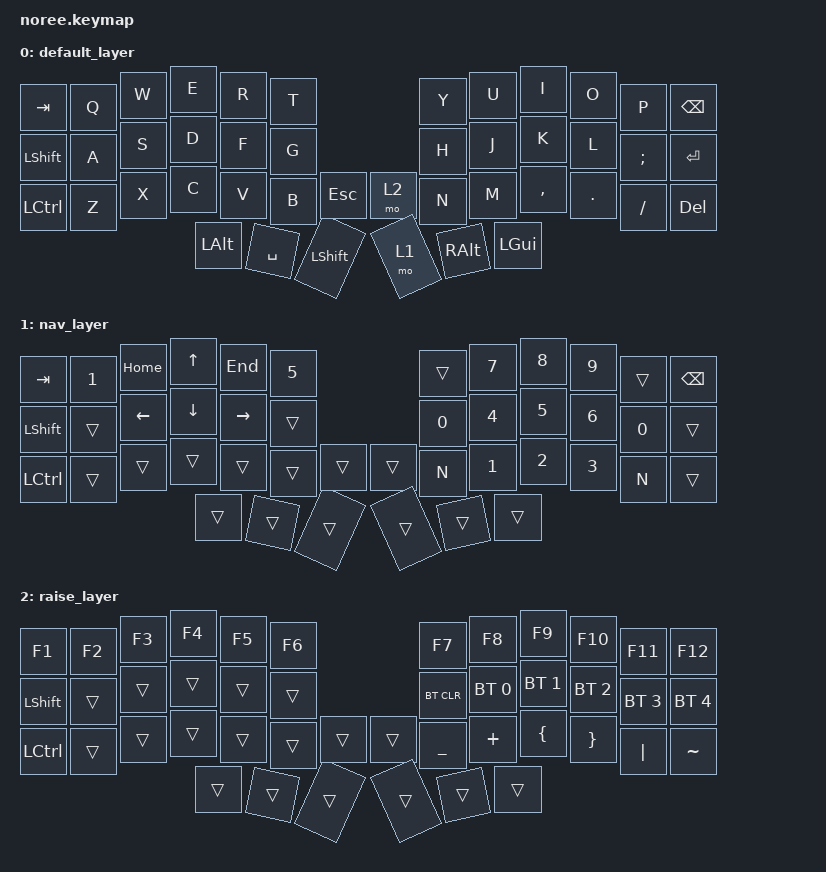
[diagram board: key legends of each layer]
/*
 * Copyright (c) 2020 The ZMK Contributors
 *
 * SPDX-License-Identifier: MIT
 */

#include <behaviors.dtsi>
#include <dt-bindings/zmk/keys.h>
#include <dt-bindings/zmk/bt.h>

/ {
        keymap {
                compatible = "zmk,keymap";

                default_layer {
// -----------------------------------------------------------------------------------------
// | TAB  |  Q  |  W  |  E  |  R  |   T  |               |  Y  |  U  |  I  |  O  |  P  | BSPC |
// | SHFT |  A  |  S  |  D  |  F  |   G  |               |  H  |  J  |  K  |  L  |  ;  | ENTER|
// | CTRL |  Z  |  X  |  C  |  V  |   B  |               |  N  |  M  |  ,  |  .  |  /  |  DEL |
//                    | ALT | SPC | SHFT | ESC |    | FN | NAV |ALTGR| WIN |
                        bindings = <
   &kp TAB   &kp Q &kp W &kp E &kp R &kp T              &kp Y &kp U  &kp I     &kp O   &kp P    &kp BSPC
   &kp LSHFT &kp A &kp S &kp D &kp F &kp G              &kp H &kp J  &kp K     &kp L   &kp SEMI &kp RET
   &kp LCTRL &kp Z &kp X &kp C &kp V &kp B              &kp N &kp M  &kp COMMA &kp DOT &kp FSLH &kp DEL
             &kp LALT &kp SPACE &kp LSHIFT &kp ESC &mo 2 &mo 1 &kp RALT &kp LGUI
                        >;

// | TAB  |  Q  |  W  |  E  |  R  |  T  |   |  Y  |  U  |  I  |  O  |  P  | BSPC |
// | SHFT |  A  |  S  |  D  |  F  |  G  |   |  H  |  J  |  K  |  L  |  ;  |  '   |
// | CTRL |  Z  |  X  |  C  |  V  |  B  |   |  N  |  M  |  ,  |  .  |  /  | ESC  |
//              | GUI | LWR | SPC | ESC |   | DEL | ENT | RSE | ALT |
/*                        bindings = <
   &kp TAB   &kp Q &kp W &kp E &kp R &kp T      &kp Y &kp U  &kp I     &kp O   &kp P    &kp BSPC
   &kp LSHFT &kp A &kp S &kp D &kp F &kp G      &kp H &kp J  &kp K     &kp L   &kp SEMI &kp SQT
   &kp LCTRL &kp Z &kp X &kp C &kp V &kp B      &kp N &kp M  &kp COMMA &kp DOT &kp FSLH &kp ESC
             &kp LGUI &mo 1 &kp SPACE &kp ESC   &kp DEL &kp RET &mo 2 &kp RALT
                        >;
*/
                };
                nav_layer {
// -----------------------------------------------------------------------------------------
// |  TAB  |   1   |  HOME  |   UP   |   END   |   5   |                    |     |  7  |  8  |  9  |     | BSPC |
// | LSHFT |       |  LEFT  |  DOWN  |  RIGHT  |       |                    |  0  |  4  |  5  |  6  |  0  |      |
// | CTRL  |       |        |        |         |       |                    |  .  |  1  |  2  |  3  |  .  |      |
//                          |        |         |       |     |         |    |     |     |     |
                        bindings = <
   &kp TAB    &kp N1  &kp HOME &kp UP    &kp END   &kp N5                  &trans    &kp N7   &kp N8  &kp N9   &trans &kp BSPC
   &kp LSHFT  &trans  &kp LEFT &kp DOWN  &kp RIGHT &trans                  &kp N0    &kp N4   &kp N5  &kp N6   &kp N0 &trans
   &kp LCTRL  &trans  &trans   &trans    &trans    &trans                  &kp N     &kp N1   &kp N2  &kp N3   &kp N  &trans
                               &trans    &trans    &trans &trans    &trans &trans &trans  &trans
                        >;
                };

                raise_layer {
// -----------------------------------------------------------------------------------------
// |  F1  |  F2  |  F3  |  F4  |  F5  |  F6  |                         |  F7 |  F8 |  F9 | F10 | F11 | F12 |
// | SHFT |      |      |      |      |      |                         |BTCLR| BT1 | BT2 | BT3 | BT4 | BT5 |
// | CTRL |      |      |      |      |      |                         |  _  |  +  |  {  |  }  | "|" |  ~  |
//                      |      |      |      |      |             |    |     |     |     |
                        bindings = <
   &kp F1    &kp F2   &kp F3  &kp F4  &kp F5  &kp F6                        &kp F7     &kp F8       &kp F9       &kp F10      &kp F11      &kp F12
   &kp LSHFT &trans   &trans  &trans  &trans  &trans                        &bt BT_CLR &bt BT_SEL 0 &bt BT_SEL 1 &bt BT_SEL 2 &bt BT_SEL 3 &bt BT_SEL 4
   &kp LCTRL &trans   &trans  &trans  &trans  &trans                        &kp UNDER  &kp PLUS     &kp LBRC     &kp RBRC     &kp PIPE     &kp TILDE
                              &trans  &trans  &trans  &trans       &trans   &trans      &trans       &trans
                        >;
                };
//                raise_layer {
// // -----------------------------------------------------------------------------------------
// // |  TAB |  !  |  @  |  #  |  $  |  %  |   |  ^  |  &  |  *  |  (  |  )  | BSPC |
// // | SHFT |     |     |     |     |     |   |  -  |  =  |  [  |  ]  |  \  |  `   |
// // | CTRL |     |     |     |     |     |   |  _  |  +  |  {  |  }  | "|" |  ~   |
// //              | GUI |     | SPC |     |   |     | ENT |     | ALT |
//                         bindings = <
//    &kp  TAB  &kp EXCL &kp AT &kp HASH &kp DLLR &kp PRCNT   &kp CARET &kp AMPS  &kp ASTRK &kp LPAR &kp RPAR &kp BSPC
//    &kp LSHFT &trans   &trans &trans   &trans   &trans      &kp MINUS &kp EQUAL &kp LBKT  &kp RBKT &kp BSLH &kp GRAVE
//    &kp LCTRL &trans   &trans &trans   &trans   &trans      &kp UNDER &kp PLUS  &kp LBRC  &kp RBRC &kp PIPE &kp TILDE
//                       &kp LGUI &trans &kp SPACE &trans     &trans    &kp RET   &trans    &kp RALT
//                         >;
//                      };
        };
};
